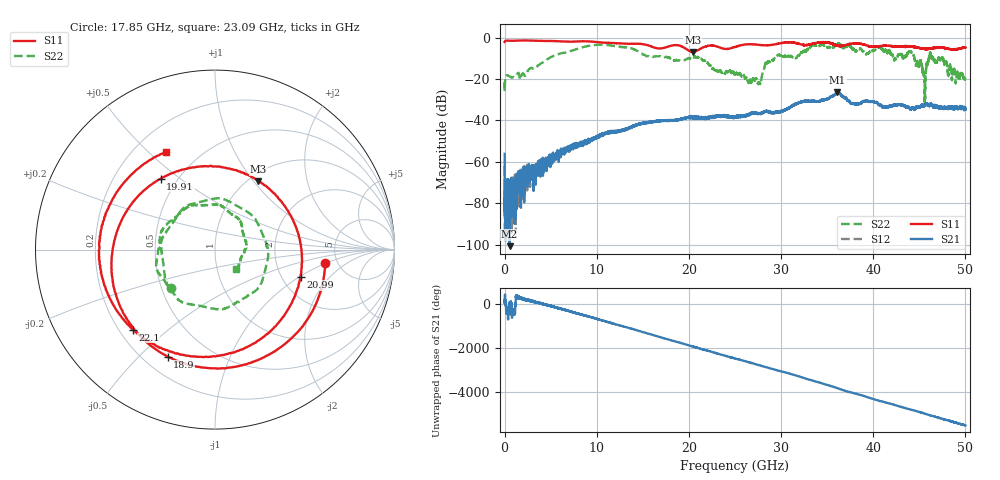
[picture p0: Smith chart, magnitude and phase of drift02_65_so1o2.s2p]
!Created with skrf (http://scikit-rf.org).
# Hz S RI R 50.0
!freq ReS11 ImS11 ReS21 ImS21 ReS12 ImS12 ReS22 ImS22
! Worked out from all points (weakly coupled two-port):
!   10001 points, 300 kHz to 50 GHz, reference 50 ohm
!   highest |S21| = -26.30 dB at 36.12 GHz (marker M1); lowest = -100.8 dB at 545.3 MHz (marker M2)
!   lowest |S11| = -6.9 dB at 20.41 GHz (marker M3), VSWR 2.64, Z = 55.3 + j52.9 ohm
!   |S11| at or under -10 dB: nowhere
!   |S22| runs from -32.3 to -2.6 dB; largest |S21 - S12| = 0.0051
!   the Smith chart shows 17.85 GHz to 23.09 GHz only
!   S11 on the Smith chart (normalised r, x): 17.85 GHz: 3.99, -0.93; 18.9 GHz: 0.29, -0.61; 19.91 GHz: 0.41, +0.43; 20.99 GHz: 2.53, -1.02; 22.1 GHz: 0.25, -0.38; 23.09 GHz: 0.33, +0.57
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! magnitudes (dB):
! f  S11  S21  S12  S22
! 300 kHz  -2.1  -56.1  -62.4  -21.6
! 255.3 MHz  -1.4  -79.1  -77.0  -18.2
! 545.3 MHz  -1.5  -100.8  -100.5  -18.8
! 8.335 GHz  -1.7  -52.2  -51.6  -4.7
! 16.67 GHz  -5.2  -40.3  -40.2  -9.0
! 17.85 GHz  -4.2  -40.0  -40.0  -9.7
! 18.9 GHz  -3.7  -39.6  -39.7  -10.9
! 19.91 GHz  -6.1  -38.6  -38.6  -9.8
! 20.41 GHz  -6.9  -38.5  -38.1  -9.7
! 20.99 GHz  -6.0  -38.6  -38.5  -9.3
! 22.1 GHz  -3.9  -38.7  -38.3  -12.6
! 23.09 GHz  -4.3  -37.8  -38.2  -15.9
! 25 GHz  -4.5  -38.4  -38.2  -17.7
! 27.63 GHz  -3.5  -36.9  -36.5  -21.5
! 29.54 GHz  -3.1  -36.0  -36.0  -8.8
! 33.34 GHz  -3.1  -30.6  -30.5  -3.8
! 36.12 GHz  -3.9  -26.3  -26.9  -3.3
! 41.67 GHz  -3.9  -33.3  -33.5  -6.0
! 44.13 GHz  -4.2  -34.6  -34.5  -7.0
! 45.51 GHz  -5.3  -33.1  -33.3  -17.6
! 46.26 GHz  -5.2  -32.1  -31.9  -8.9
! 50 GHz  -4.7  -34.9  -34.0  -20.0
